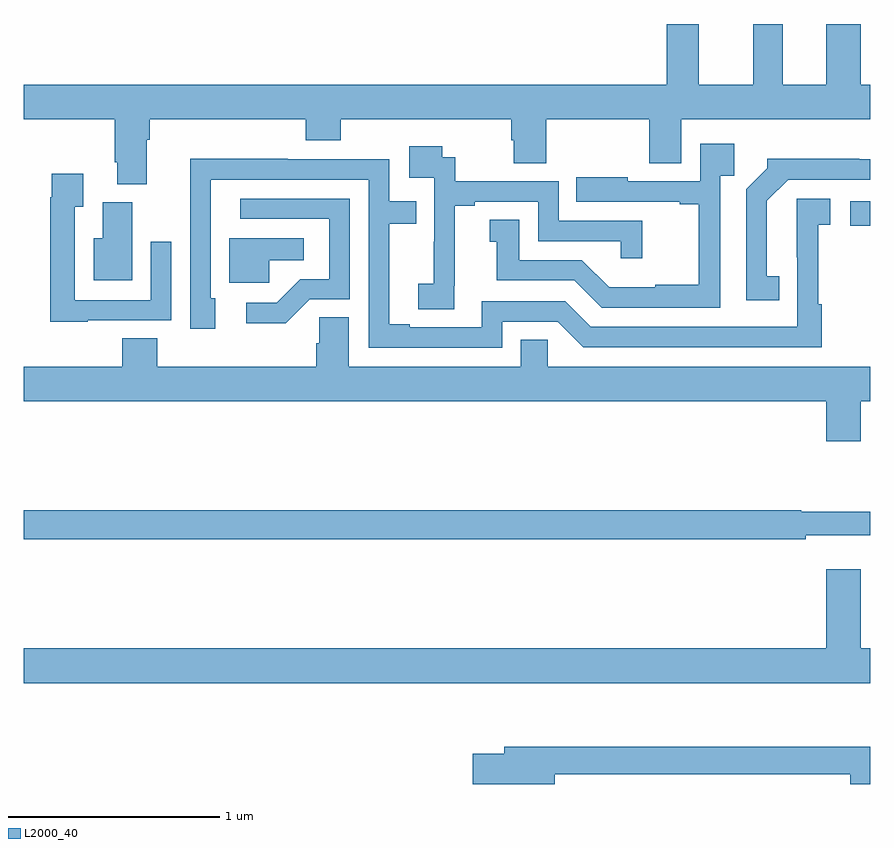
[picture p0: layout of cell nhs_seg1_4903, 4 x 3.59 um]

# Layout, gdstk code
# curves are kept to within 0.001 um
import gdstk
lib = gdstk.Library(unit=1e-6, precision=1e-09)
def R(c, l, rs):  # rectangles x0, y0, x1, y1
    for r in rs: c.add(gdstk.rectangle(r[:2], r[2:], *l))
def P(c, l, *ps):  # polygons
    for p in ps: c.add(gdstk.Polygon(p, *l))
L2000_40 = (2000, 40)

nhs_seg1_4903 = lib.new_cell('nhs_seg1_4903')
R(nhs_seg1_4903, L2000_40, [(380.907,535.246,381,535.362)])
P(nhs_seg1_4903, L2000_40, [(377,535.748),(377.429,535.748),(377.429,535.546),(377.441,535.546),(377.441,535.441),(377.581,535.441),(377.581,535.652),(377.594,535.652),(377.594,535.748),(378.332,535.748),(378.332,535.649),(378.497,535.649),(378.497,535.748),(379.304,535.748),(379.304,535.65),(379.316,535.65),(379.316,535.54),(379.469,535.54),(379.469,535.748),(379.955,535.748),(379.955,535.54),(380.107,535.54),(380.107,535.748),(381,535.748),(381,535.912),(380.956,535.912),(380.956,536.199),(380.792,536.199),(380.792,535.912),(380.587,535.912),(380.587,536.199),(380.447,536.199),(380.447,535.912),(380.191,535.912),(380.191,536.199),(380.039,536.199),(380.039,535.912),(377,535.912)],
  [(380.292,535.481),(380.357,535.481),(380.357,535.633),(380.196,535.633),(380.196,535.455),(379.855,535.455),(379.855,535.474),(379.612,535.474),(379.612,535.359),(380.099,535.359),(380.099,535.347),(380.191,535.347),(380.191,534.967),(379.985,534.967),(379.985,534.955),(379.766,534.955),(379.638,535.083),(379.342,535.083),(379.342,535.274),(379.202,535.274),(379.202,535.171),(379.235,535.171),(379.235,534.987),(379.602,534.987),(379.731,534.858),(380.292,534.858)],
  [(379.034,534.961),(379.036,534.961),(379.036,535.339),(379.132,535.339),(379.132,535.359),(379.431,535.359),(379.431,535.173),(379.821,535.173),(379.821,535.092),(379.922,535.092),(379.922,535.269),(379.527,535.269),(379.527,535.455),(379.04,535.455),(379.04,535.569),(378.978,535.569),(378.978,535.621),(378.822,535.621),(378.822,535.473),(378.939,535.473),(378.939,535.169),(378.938,535.169),(378.938,534.972),(378.864,534.972),(378.864,534.85),(379.034,534.85)],
  [(380.57,535.007),(380.512,535.007),(380.512,535.363),(380.613,535.464),(381,535.464),(381,535.56),(380.948,535.56),(380.948,535.562),(380.514,535.562),(380.514,535.517),(380.415,535.418),(380.415,534.894),(380.57,534.894)],
  [(379.26,534.792),(379.524,534.792),(379.644,534.672),(380.771,534.672),(380.771,534.875),(380.754,534.875),(380.754,535.251),(380.812,535.251),(380.812,535.372),(380.654,535.372),(380.655,534.768),(379.68,534.768),(379.56,534.888),(379.164,534.888),(379.164,534.765),(378.823,534.765),(378.823,534.78),(378.727,534.78),(378.727,535.254),(378.854,535.254),(378.854,535.362),(378.726,535.362),(378.726,535.56),(378.248,535.56),(378.248,535.562),(377.786,535.562),(377.787,534.759),(377.905,534.759),(377.905,534.903),(377.883,534.903),(377.883,535.464),(378.63,535.464),(378.63,534.669),(379.26,534.669)],
  [(377.301,534.798),(377.697,534.798),(377.697,535.171),(377.601,535.171),(377.601,534.894),(377.241,534.894),(377.241,535.336),(377.281,535.336),(377.281,535.492),(377.133,535.492),(377.133,535.379),(377.125,535.379),(377.125,534.791),(377.301,534.791)],
  [(378.351,534.897),(378.54,534.897),(378.54,535.374),(378.024,535.374),(378.024,535.278),(378.444,535.278),(378.444,534.993),(378.306,534.993),(378.195,534.882),(378.051,534.882),(378.051,534.785),(378.238,534.785)],
  [(377.512,535.356),(377.372,535.356),(377.372,535.186),(377.33,535.186),(377.33,534.989),(377.512,534.989)],
  [(378.159,535.082),(378.322,535.082),(378.322,535.186),(377.972,535.186),(377.972,534.975),(378.159,534.975)],
  [(379.476,534.707),(379.349,534.707),(379.349,534.58),(378.535,534.58),(378.535,534.812),(378.396,534.812),(378.396,534.689),(378.383,534.689),(378.383,534.58),(377.63,534.58),(377.63,534.713),(377.465,534.713),(377.465,534.58),(377,534.58),(377,534.416),(380.792,534.416),(380.792,534.228),(380.956,534.228),(380.956,534.416),(381,534.416),(381,534.58),(379.476,534.58)],
  [(380.696,533.783),(381,533.783),(381,533.893),(380.674,533.893),(380.674,533.9),(377,533.9),(377,533.764),(380.696,533.764)],
  [(381,533.248),(380.956,533.248),(380.956,533.623),(380.792,533.623),(380.792,533.248),(377,533.248),(377,533.084),(381,533.084)],
  [(379.51,532.654),(380.906,532.654),(380.906,532.607),(381,532.607),(381,532.783),(379.271,532.783),(379.271,532.749),(379.122,532.749),(379.122,532.607),(379.51,532.607)])

lib.write_gds('nhs_seg1_4903.gds')
